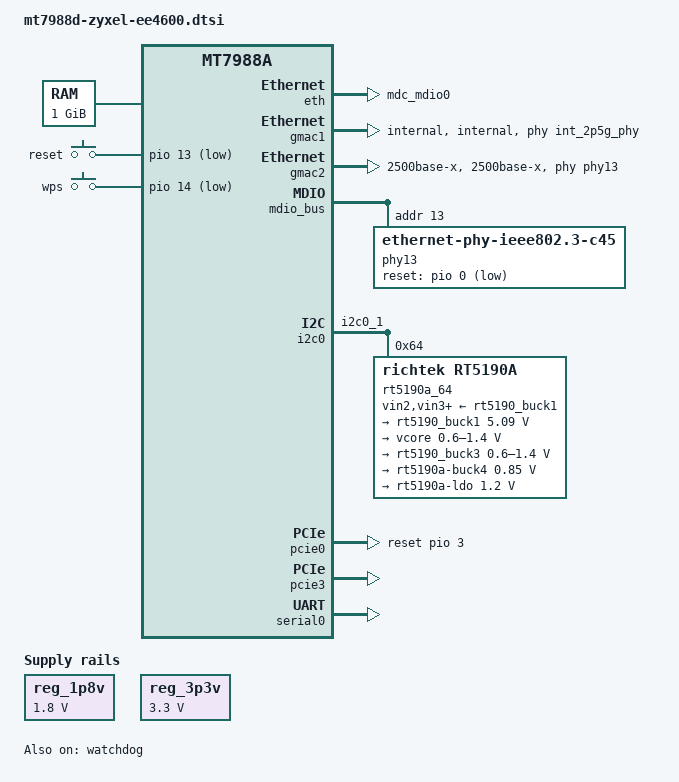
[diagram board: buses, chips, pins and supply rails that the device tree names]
// SPDX-License-Identifier: (GPL-2.0 OR MIT)

/dts-v1/;

#include "mt7988a.dtsi"
#include <dt-bindings/gpio/gpio.h>
#include <dt-bindings/input/input.h>
#include <dt-bindings/leds/common.h>
#include <dt-bindings/pinctrl/mt65xx.h>
#include <dt-bindings/regulator/richtek,rt5190a-regulator.h>

/ {

	aliases {
		serial0 = &serial0;
		label-mac-device = &gmac1;
		led-boot = &led_status;
		led-failsafe = &led_status;
		led-running = &led_status;
		led-upgrade = &led_status;
	};

	memory@40000000 {
		reg = <0x0 0x40000000 0x0 0x40000000>;
		device_type = "memory";
	};

	cpus {
		/delete-node/ cpu@3;
	};

	reg_1p8v: regulator-1p8v {
		compatible = "regulator-fixed";
		regulator-name = "fixed-1.8V";
		regulator-min-microvolt = <1800000>;
		regulator-max-microvolt = <1800000>;
		regulator-boot-on;
		regulator-always-on;
	};

	reg_3p3v: regulator-3p3v {
		compatible = "regulator-fixed";
		regulator-name = "fixed-3.3V";
		regulator-min-microvolt = <3300000>;
		regulator-max-microvolt = <3300000>;
		regulator-boot-on;
		regulator-always-on;
	};

	gpio-keys {
		compatible = "gpio-keys";
		pinctrl-names = "default";
		pinctrl-0 = <&button_pins>;

		reset {
			label = "reset";
			linux,code = <KEY_RESTART>;
			gpios = <&pio 13 GPIO_ACTIVE_LOW>;
		};

		wps {
			label = "wps";
			linux,code = <KEY_WPS_BUTTON>;
			gpios = <&pio 14 GPIO_ACTIVE_LOW>;
		};
	};
};

&cpu0 {
	proc-supply = <&rt5190_buck3>;
};

&cpu1 {
	proc-supply = <&rt5190_buck3>;
};

&cpu2 {
	proc-supply = <&rt5190_buck3>;
};

&cci {
	proc-supply = <&rt5190_buck3>;
};

&eth {
	pinctrl-names = "default";
	pinctrl-0 = <&mdio0_pins>;
	status = "okay";
};

&gmac1 {
	phy-mode = "internal";
	phy-connection-type = "internal";
	phy = <&int_2p5g_phy>;
	status = "okay";

	nvmem-cells = <&mac 0>;
	nvmem-cell-names = "mac-address";
};

&gmac2 {
	phy-mode = "2500base-x";
	phy-connection-type = "2500base-x";
	phy = <&phy13>;
	status = "okay";

	nvmem-cells = <&mac 1>;
	nvmem-cell-names = "mac-address";
};

&mdio_bus {
	phy13: ethernet-phy@d {
		/* Airoha AN8811HB */
		compatible = "ethernet-phy-ieee802.3-c45";
		reg = <0xd>;

		reset-gpios = <&pio 0 GPIO_ACTIVE_LOW>;
		reset-assert-us = <10000>;
		reset-deassert-us = <10000>;
	};
};

&i2c0 {
	pinctrl-names = "default";
	pinctrl-0 = <&i2c0_pins>;
	status = "okay";

	rt5190a_64: rt5190a@64 {
		compatible = "richtek,rt5190a";
		reg = <0x64>;
		/*interrupts-extended = <&gpio26 0 IRQ_TYPE_LEVEL_LOW>;*/
		vin2-supply = <&rt5190_buck1>;
		vin3-supply = <&rt5190_buck1>;
		vin4-supply = <&rt5190_buck1>;

		regulators {
			rt5190_buck1: buck1 {
				regulator-name = "rt5190a-buck1";
				regulator-min-microvolt = <5090000>;
				regulator-max-microvolt = <5090000>;
				regulator-allowed-modes =
				<RT5190A_OPMODE_AUTO RT5190A_OPMODE_FPWM>;
				regulator-boot-on;
				regulator-always-on;
			};

			buck2 {
				regulator-name = "vcore";
				regulator-min-microvolt = <600000>;
				regulator-max-microvolt = <1400000>;
				regulator-boot-on;
				regulator-always-on;
			};

			rt5190_buck3: buck3 {
				regulator-name = "vproc";
				regulator-min-microvolt = <600000>;
				regulator-max-microvolt = <1400000>;
				regulator-boot-on;
			};

			buck4 {
				regulator-name = "rt5190a-buck4";
				regulator-min-microvolt = <850000>;
				regulator-max-microvolt = <850000>;
				regulator-allowed-modes =
				<RT5190A_OPMODE_AUTO RT5190A_OPMODE_FPWM>;
				regulator-boot-on;
				regulator-always-on;
			};

			ldo {
				regulator-name = "rt5190a-ldo";
				regulator-min-microvolt = <1200000>;
				regulator-max-microvolt = <1200000>;
				regulator-boot-on;
				regulator-always-on;
			};
		};
	};
};

&pcie0 {
	reset-gpios = <&pio 3 GPIO_ACTIVE_HIGH>;
	status = "okay";

	pcie@0,0 {
		reg = <0x0000 0 0 0 0>;
		#address-cells = <3>;
		#size-cells = <2>;

		mt7996@0,0 {
			reg = <0x0000 0 0 0 0>;
			#address-cells = <1>;
			#size-cells = <0>;
			nvmem-cells = <&eeprom_factory_0>;
			nvmem-cell-names = "eeprom";

                        band@0 {
                                /* 2.4 GHz */
                                reg = <0>;
                                nvmem-cells = <&mac 1>;
                                nvmem-cell-names = "mac-address";
                        };
                        band@1 {
                                /* 5 GHz */
                                reg = <1>;
                                nvmem-cells = <&mac 2>;
                                nvmem-cell-names = "mac-address";
                        };
                        band@2 {
                                /* 6 GHz */
                                reg = <2>;
                                nvmem-cells = <&mac 3>;
                                nvmem-cell-names = "mac-address";
                        };
		};
	};
};

&pcie3 {
	status = "okay";
};


&pio {
	button_pins: button-pins {
		pins = "GPIO_RESET", "GPIO_WPS";
		bias-disable; /* bias-disable */
	};

	mdio0_pins: mdio0-pins {
		mux {
			function = "eth";
			groups = "mdc_mdio0";
		};

		conf {
			groups = "mdc_mdio0";
			drive-strength = <MTK_DRIVE_8mA>;
		};
	};

	mmc0_pins_emmc_51: mmc0-emmc-51-pins {
		mux {
			function = "flash";
			groups = "emmc_51";
		};
	};

	i2c0_pins: i2c0-pins-g0 {
		mux {
			function = "i2c";
			groups = "i2c0_1";
		};
	};

	spi0_flash_pins: spi0-pins {
		mux {
			function = "spi";
			groups = "spi0", "spi0_wp_hold";
		};
	};

};

&serial0 {
	status = "okay";
};

&watchdog {
	status = "okay";
};
